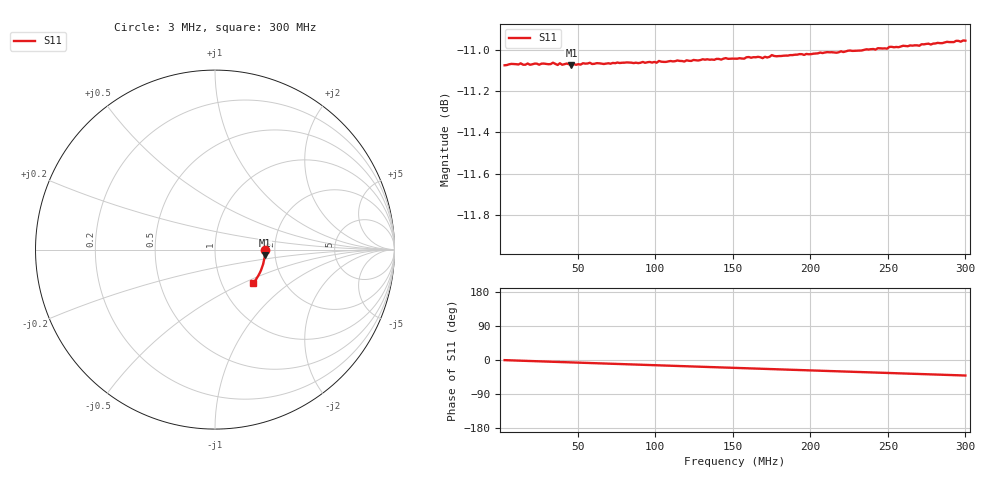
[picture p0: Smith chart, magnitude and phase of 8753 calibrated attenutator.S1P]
! C:\data\NanoVNA\8753 calibrated attenutator.S1P
! Touchstone 1.1 file saved by VNA.EXE V1.60 (www.ke5fx.com/gpib/readme.htm)
! 22/08/2019 5:14:27 p.m.
!  Source: HEWLETT PACKARD,8753C,0,4.12
!  Min freq: 3.000000E+006 Hz
!  Max freq: 3.000000E+008 Hz
!  Points: 201
!  Params: S11
# GHZ S MA R 50
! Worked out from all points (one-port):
!   201 points, 3 MHz to 300 MHz, reference 50 ohm
!   lowest |S11| = -11.1 dB at 46.06 MHz (marker M1), VSWR 1.78, Z = 88.2 - j5.9 ohm
!   |S11| at or under -10 dB: start of sweep to end of sweep
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0.003  0.2795 -0.4
0.013395  0.2798 -1.8
0.025275  0.2796 -3.5
0.034185  0.2799 -4.7
0.037155  0.2795 -5.1
0.03864  0.2798 -5.3
0.040125  0.2795 -5.5
0.043095  0.2797 -5.9
0.046065  0.2794 -6.3
0.057945  0.2799 -8.0
0.05943  0.2797 -8.2
0.07725  0.2798 -10.6
0.10101  0.2799 -13.9
0.102495  0.2802 -14.1
0.114375  0.2802 -15.7
0.11883  0.2801 -16.3
0.13368  0.2804 -18.4
0.1515  0.2805 -20.8
0.16635  0.2808 -22.8
0.16932  0.2806 -23.2
0.17526  0.2811 -24.1
0.188625  0.2811 -25.9
0.209415  0.2815 -28.7
0.22575  0.2818 -30.9
0.24357  0.2822 -33.3
0.262875  0.2825 -35.9
0.28218  0.283 -38.5
0.3  0.2833 -41.0
